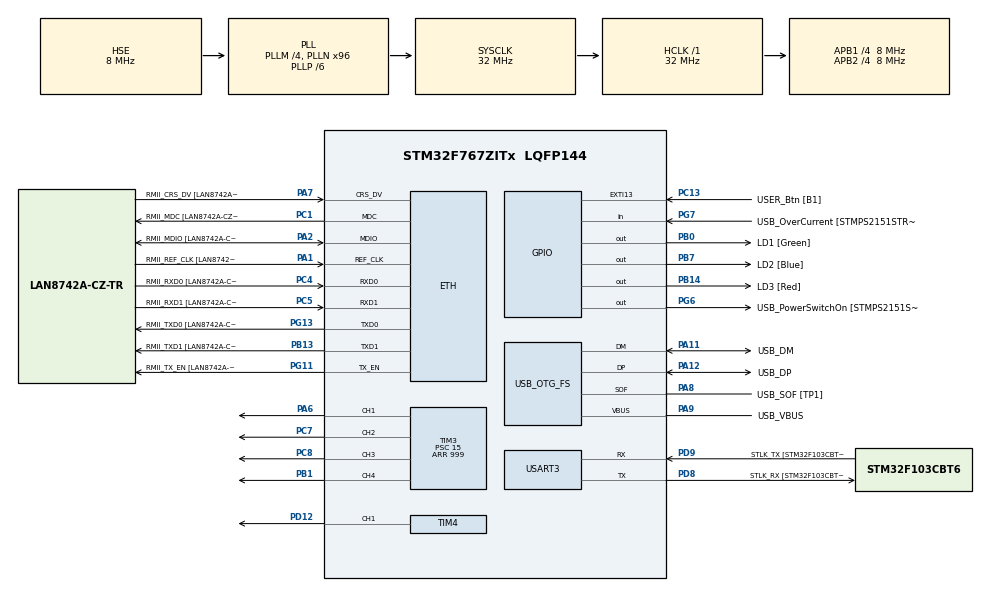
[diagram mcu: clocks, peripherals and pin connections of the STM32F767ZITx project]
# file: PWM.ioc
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ETH.MediaInterface=HAL_ETH_RMII_MODE
ETH.PHY_Name=LAN8742A_PHY_ADDRESS
ETH.PHY_Value=0
ETH.PhyAddress=0
Mcu.Family=STM32F7
Mcu.Name=STM32F767ZITx
Mcu.Package=LQFP144
NVIC.PriorityGroup=NVIC_PRIORITYGROUP_4
PA1.GPIO_Label=RMII_REF_CLK [LAN8742A-CZ-TR_REFCLK0]
PA1.Mode=RMII
PA1.Signal=ETH_REF_CLK
PA10.GPIO_Label=USB_ID
PA10.Signal=USB_OTG_FS_ID
PA11.GPIO_Label=USB_DM
PA11.Mode=Device_Only
PA11.Signal=USB_OTG_FS_DM
PA12.GPIO_Label=USB_DP
PA12.Mode=Device_Only
PA12.Signal=USB_OTG_FS_DP
PA13.GPIO_Label=TMS
PA13.Mode=Serial_Wire
PA13.Signal=SYS_JTMS-SWDIO
PA14.GPIO_Label=TCK
PA14.Mode=Serial_Wire
PA14.Signal=SYS_JTCK-SWCLK
PA2.GPIO_Label=RMII_MDIO [LAN8742A-CZ-TR_MDIO]
PA2.Mode=RMII
PA2.Signal=ETH_MDIO
PA6.Signal=S_TIM3_CH1
PA7.GPIO_Label=RMII_CRS_DV [LAN8742A-CZ-TR_CRS_DV]
PA7.Mode=RMII
PA7.Signal=ETH_CRS_DV
PA8.GPIO_Label=USB_SOF [TP1]
PA8.Mode=Activate_SOF_FS
PA8.Signal=USB_OTG_FS_SOF
PA9.GPIO_Label=USB_VBUS
PA9.Mode=Activate_VBUS
PA9.Signal=USB_OTG_FS_VBUS
PB0.GPIO_Label=LD1 [Green]
PB0.Signal=GPIO_Output
PB1.Signal=S_TIM3_CH4
PB13.GPIO_Label=RMII_TXD1 [LAN8742A-CZ-TR_TXD1]
PB13.Mode=RMII
PB13.Signal=ETH_TXD1
PB14.GPIO_Label=LD3 [Red]
PB14.Signal=GPIO_Output
PB3.GPIO_Label=SWO
PB3.Signal=SYS_JTDO-SWO
PB7.GPIO_Label=LD2 [Blue]
PB7.Signal=GPIO_Output
PC1.GPIO_Label=RMII_MDC [LAN8742A-CZ-TR_MDC]
PC1.Mode=RMII
PC1.Signal=ETH_MDC
PC13.GPIO_Label=USER_Btn [B1]
PC13.Signal=GPXTI13
PC14/OSC32_IN.Mode=LSE-External-Oscillator
PC14/OSC32_IN.Signal=RCC_OSC32_IN
PC15/OSC32_OUT.Mode=LSE-External-Oscillator
PC15/OSC32_OUT.Signal=RCC_OSC32_OUT
PC4.GPIO_Label=RMII_RXD0 [LAN8742A-CZ-TR_RXD0]
PC4.Mode=RMII
PC4.Signal=ETH_RXD0
PC5.GPIO_Label=RMII_RXD1 [LAN8742A-CZ-TR_RXD1]
PC5.Mode=RMII
PC5.Signal=ETH_RXD1
PC7.Signal=S_TIM3_CH2
PC8.Signal=S_TIM3_CH3
PD12.Signal=S_TIM4_CH1
PD8.GPIO_Label=STLK_RX [STM32F103CBT6_PA3]
PD8.Mode=Asynchronous
PD8.Signal=USART3_TX
PD9.GPIO_Label=STLK_TX [STM32F103CBT6_PA2]
PD9.Mode=Asynchronous
PD9.Signal=USART3_RX
PG11.GPIO_Label=RMII_TX_EN [LAN8742A-CZ-TR_TXEN]
PG11.Mode=RMII
PG11.Signal=ETH_TX_EN
PG13.GPIO_Label=RMII_TXD0 [LAN8742A-CZ-TR_TXD0]
PG13.Mode=RMII
PG13.Signal=ETH_TXD0
PG6.GPIO_Label=USB_PowerSwitchOn [STMPS2151STR_EN]
PG6.Signal=GPIO_Output
PG7.GPIO_Label=USB_OverCurrent [STMPS2151STR_FAULT]
PG7.Signal=GPIO_Input
PH0/OSC_IN.GPIO_Label=MCO [STM32F103CBT6_PA8]
PH0/OSC_IN.Mode=HSE-External-Clock-Source
PH0/OSC_IN.Signal=RCC_OSC_IN
PH1/OSC_OUT.Mode=HSE-External-Clock-Source
PH1/OSC_OUT.Signal=RCC_OSC_OUT
ProjectManager.HeapSize=0x200
ProjectManager.StackSize=0x400
ProjectManager.TargetToolchain=STM32CubeIDE
RCC.48MHZClocksFreq_Value=24000000
RCC.AHBFreq_Value=32000000
RCC.APB1CLKDivider=RCC_HCLK_DIV4
RCC.APB1Freq_Value=8000000
RCC.APB1TimFreq_Value=16000000
RCC.APB2CLKDivider=RCC_HCLK_DIV4
RCC.APB2Freq_Value=8000000
RCC.APB2TimFreq_Value=16000000
RCC.CortexFreq_Value=32000000
RCC.HCLKFreq_Value=32000000
RCC.HSE_VALUE=8000000
RCC.HSI_VALUE=16000000
RCC.PLLM=4
RCC.PLLMUL=RCC_PLL_MUL9
RCC.PLLN=96
RCC.PLLP=RCC_PLLP_DIV6
RCC.PLLQ=4
RCC.PRESCALERUSB=RCC_USBCLKSOURCE_PLL_DIV1_5
RCC.SYSCLKFreq_VALUE=32000000
RCC.SYSCLKSource=RCC_SYSCLKSOURCE_PLLCLK
RCC.SYSCLKSourceVirtual=RCC_SYSCLKSOURCE_PLLCLK
RCC.USBFreq_Value=48000000
RCC.VCOOutputFreq_Value=192000000
SH.S_TIM3_CH1.0=TIM3_CH1,PWM Generation1 CH1
SH.S_TIM3_CH2.0=TIM3_CH2,PWM Generation2 CH2
SH.S_TIM3_CH3.0=TIM3_CH3,PWM Generation3 CH3
SH.S_TIM3_CH4.0=TIM3_CH4,PWM Generation4 CH4
SH.S_TIM4_CH1.0=TIM4_CH1,PWM Generation1 CH1
TIM3.Channel-PWM\ Generation1\ CH1=TIM_CHANNEL_1
TIM3.Channel-PWM\ Generation2\ CH2=TIM_CHANNEL_2
TIM3.Channel-PWM\ Generation3\ CH3=TIM_CHANNEL_3
TIM3.Channel-PWM\ Generation4\ CH4=TIM_CHANNEL_4
TIM3.Period=999
TIM3.Prescaler=15
TIM3.Pulse-PWM\ Generation1\ CH1=249
TIM3.Pulse-PWM\ Generation2\ CH2=499
TIM3.Pulse-PWM\ Generation3\ CH3=749
TIM3.Pulse-PWM\ Generation4\ CH4=999
TIM4.Channel-PWM\ Generation1\ CH1=TIM_CHANNEL_1
TIM4.Period=19999
TIM4.Prescaler=15
USART3.VirtualMode-Asynchronous=VM_ASYNC
USB_OTG_FS.VirtualMode=Device_Only
VP_TIM3_VS_ClockSourceINT.Mode=Internal
VP_TIM4_VS_ClockSourceINT.Mode=Internal
board=NUCLEO-F767ZI

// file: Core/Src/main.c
/* USER CODE BEGIN Header */
/**
  ******************************************************************************
  * @file           : main.c
  * @brief          : Main program body
  ******************************************************************************
  * @attention
  *
  * Copyright (c) 2026 STMicroelectronics.
  * All rights reserved.
  *
  * This software is licensed under terms that can be found in the LICENSE file
  * in the root directory of this software component.
  * If no LICENSE file comes with this software, it is provided AS-IS.
  *
  ******************************************************************************
  */
/* USER CODE END Header */
#include "main.h"
#include "string.h"

#if defined ( __ICCARM__ ) /*!< IAR Compiler */
#pragma location=0x2007c000
ETH_DMADescTypeDef  DMARxDscrTab[ETH_RX_DESC_CNT]; /* Ethernet Rx DMA Descriptors */
#pragma location=0x2007c0a0
ETH_DMADescTypeDef  DMATxDscrTab[ETH_TX_DESC_CNT]; /* Ethernet Tx DMA Descriptors */

#elif defined ( __CC_ARM )  /* MDK ARM Compiler */

__attribute__((at(0x2007c000))) ETH_DMADescTypeDef  DMARxDscrTab[ETH_RX_DESC_CNT]; /* Ethernet Rx DMA Descriptors */
__attribute__((at(0x2007c0a0))) ETH_DMADescTypeDef  DMATxDscrTab[ETH_TX_DESC_CNT]; /* Ethernet Tx DMA Descriptors */

#elif defined ( __GNUC__ ) /* GNU Compiler */

ETH_DMADescTypeDef DMARxDscrTab[ETH_RX_DESC_CNT] __attribute__((section(".RxDecripSection"))); /* Ethernet Rx DMA Descriptors */
ETH_DMADescTypeDef DMATxDscrTab[ETH_TX_DESC_CNT] __attribute__((section(".TxDecripSection")));   /* Ethernet Tx DMA Descriptors */
#endif

ETH_TxPacketConfig TxConfig;

ETH_HandleTypeDef heth;

TIM_HandleTypeDef htim3;
TIM_HandleTypeDef htim4;

UART_HandleTypeDef huart3;

PCD_HandleTypeDef hpcd_USB_OTG_FS;

void SystemClock_Config(void);
static void MX_GPIO_Init(void);
static void MX_ETH_Init(void);
static void MX_USART3_UART_Init(void);
static void MX_USB_OTG_FS_PCD_Init(void);
static void MX_TIM3_Init(void);
static void MX_TIM4_Init(void);

/* USER CODE BEGIN 0 */
void set_motor_angle(uint8_t angle)
{

if(angle>180)
{
angle = 180;
}

if(angle<0)
{
angle = 0;
}

uint16_t minPulse = 1000; // 1ms
uint16_t maxPulse = 2000; // 2ms

uint16_t pulse  = minPulse + ((uint32_t)(maxPulse - minPulse)*angle)/180;

__HAL_TIM_SET_COMPARE(&htim4,TIM_CHANNEL_1,pulse);

}
/* USER CODE END 0 */

int main(void)
{

  /* MCU Configuration--------------------------------------------------------*/

  /* Reset of all peripherals, Initializes the Flash interface and the Systick. */
  HAL_Init();

  /* Configure the system clock */
  SystemClock_Config();

  /* Initialize all configured peripherals */
  MX_GPIO_Init();
  MX_ETH_Init();
  MX_USART3_UART_Init();
  MX_USB_OTG_FS_PCD_Init();
  MX_TIM3_Init();
  MX_TIM4_Init();
  /* USER CODE BEGIN 2 */
HAL_TIM_PWM_Start(&htim3, TIM_CHANNEL_1);
HAL_TIM_PWM_Start(&htim3, TIM_CHANNEL_2);
HAL_TIM_PWM_Start(&htim3, TIM_CHANNEL_3);
HAL_TIM_PWM_Start(&htim3, TIM_CHANNEL_4);
HAL_TIM_PWM_Start(&htim4, TIM_CHANNEL_1);
  /* USER CODE END 2 */

  /* Infinite loop */
while (1)
  {

    /* USER CODE BEGIN 3 */
    uint16_t bright = 0;

    // Parlaklığı Artır
    for(bright = 0; bright <= 999; bright++)
    {
        __HAL_TIM_SET_COMPARE(&htim3, TIM_CHANNEL_1, bright);
        __HAL_TIM_SET_COMPARE(&htim3, TIM_CHANNEL_2, bright);
        __HAL_TIM_SET_COMPARE(&htim3, TIM_CHANNEL_3, bright);
        __HAL_TIM_SET_COMPARE(&htim3, TIM_CHANNEL_4, bright);
        HAL_Delay(1); // Geçiş hızı
    }

    // Parlaklığı Azalt
    for(bright = 999; bright > 0; bright--)
    {
        __HAL_TIM_SET_COMPARE(&htim3, TIM_CHANNEL_1, bright);
        __HAL_TIM_SET_COMPARE(&htim3, TIM_CHANNEL_2, bright);
        __HAL_TIM_SET_COMPARE(&htim3, TIM_CHANNEL_3, bright);
        __HAL_TIM_SET_COMPARE(&htim3, TIM_CHANNEL_4, bright);
        HAL_Delay(1);
    }

    for(int i = 0 ; i < 180 ; i++)
    {

    	set_motor_angle(i);
    	HAL_Delay(10);
    }

    for(int i = 180 ; i > 0 ; i--)
    {

    	set_motor_angle(i);
    	HAL_Delay(10);
    }
  }
  /* USER CODE END 3 */
}

void SystemClock_Config(void)
{
  RCC_OscInitTypeDef RCC_OscInitStruct = {0};
  RCC_ClkInitTypeDef RCC_ClkInitStruct = {0};

  /** Configure LSE Drive Capability
  */
  HAL_PWR_EnableBkUpAccess();

  /** Configure the main internal regulator output voltage
  */
  __HAL_RCC_PWR_CLK_ENABLE();
  __HAL_PWR_VOLTAGESCALING_CONFIG(PWR_REGULATOR_VOLTAGE_SCALE3);

  /** Initializes the RCC Oscillators according to the specified parameters
  * in the RCC_OscInitTypeDef structure.
  */
  RCC_OscInitStruct.OscillatorType = RCC_OSCILLATORTYPE_HSE;
  RCC_OscInitStruct.HSEState = RCC_HSE_BYPASS;
  RCC_OscInitStruct.PLL.PLLState = RCC_PLL_ON;
  RCC_OscInitStruct.PLL.PLLSource = RCC_PLLSOURCE_HSE;
  RCC_OscInitStruct.PLL.PLLM = 4;
  RCC_OscInitStruct.PLL.PLLN = 96;
  RCC_OscInitStruct.PLL.PLLP = RCC_PLLP_DIV6;
  RCC_OscInitStruct.PLL.PLLQ = 4;
  RCC_OscInitStruct.PLL.PLLR = 2;
  if (HAL_RCC_OscConfig(&RCC_OscInitStruct) != HAL_OK)
  {
    Error_Handler();
  }

  /** Initializes the CPU, AHB and APB buses clocks
  */
  RCC_ClkInitStruct.ClockType = RCC_CLOCKTYPE_HCLK|RCC_CLOCKTYPE_SYSCLK
                              |RCC_CLOCKTYPE_PCLK1|RCC_CLOCKTYPE_PCLK2;
  RCC_ClkInitStruct.SYSCLKSource = RCC_SYSCLKSOURCE_PLLCLK;
  RCC_ClkInitStruct.AHBCLKDivider = RCC_SYSCLK_DIV1;
  RCC_ClkInitStruct.APB1CLKDivider = RCC_HCLK_DIV4;
  RCC_ClkInitStruct.APB2CLKDivider = RCC_HCLK_DIV4;

  if (HAL_RCC_ClockConfig(&RCC_ClkInitStruct, FLASH_LATENCY_1) != HAL_OK)
  {
    Error_Handler();
  }
}

static void MX_ETH_Init(void)
{

   static uint8_t MACAddr[6];

  heth.Instance = ETH;
  MACAddr[0] = 0x00;
  MACAddr[1] = 0x80;
  MACAddr[2] = 0xE1;
  MACAddr[3] = 0x00;
  MACAddr[4] = 0x00;
  MACAddr[5] = 0x00;
  heth.Init.MACAddr = &MACAddr[0];
  heth.Init.MediaInterface = HAL_ETH_RMII_MODE;
  heth.Init.TxDesc = DMATxDscrTab;
  heth.Init.RxDesc = DMARxDscrTab;
  heth.Init.RxBuffLen = 1524;

  if (HAL_ETH_Init(&heth) != HAL_OK)
  {
    Error_Handler();
  }

  memset(&TxConfig, 0 , sizeof(ETH_TxPacketConfig));
  TxConfig.Attributes = ETH_TX_PACKETS_FEATURES_CSUM | ETH_TX_PACKETS_FEATURES_CRCPAD;
  TxConfig.ChecksumCtrl = ETH_CHECKSUM_IPHDR_PAYLOAD_INSERT_PHDR_CALC;
  TxConfig.CRCPadCtrl = ETH_CRC_PAD_INSERT;

}

static void MX_TIM3_Init(void)
{

  TIM_ClockConfigTypeDef sClockSourceConfig = {0};
  TIM_MasterConfigTypeDef sMasterConfig = {0};
  TIM_OC_InitTypeDef sConfigOC = {0};

  htim3.Instance = TIM3;
  htim3.Init.Prescaler = 15;
  htim3.Init.CounterMode = TIM_COUNTERMODE_UP;
  htim3.Init.Period = 999;
  htim3.Init.ClockDivision = TIM_CLOCKDIVISION_DIV1;
  htim3.Init.AutoReloadPreload = TIM_AUTORELOAD_PRELOAD_DISABLE;
  if (HAL_TIM_Base_Init(&htim3) != HAL_OK)
  {
    Error_Handler();
  }
  sClockSourceConfig.ClockSource = TIM_CLOCKSOURCE_INTERNAL;
  if (HAL_TIM_ConfigClockSource(&htim3, &sClockSourceConfig) != HAL_OK)
  {
    Error_Handler();
  }
  if (HAL_TIM_PWM_Init(&htim3) != HAL_OK)
  {
    Error_Handler();
  }
  sMasterConfig.MasterOutputTrigger = TIM_TRGO_RESET;
  sMasterConfig.MasterSlaveMode = TIM_MASTERSLAVEMODE_DISABLE;
  if (HAL_TIMEx_MasterConfigSynchronization(&htim3, &sMasterConfig) != HAL_OK)
  {
    Error_Handler();
  }
  sConfigOC.OCMode = TIM_OCMODE_PWM1;
  sConfigOC.Pulse = 249;
  sConfigOC.OCPolarity = TIM_OCPOLARITY_HIGH;
  sConfigOC.OCFastMode = TIM_OCFAST_DISABLE;
  if (HAL_TIM_PWM_ConfigChannel(&htim3, &sConfigOC, TIM_CHANNEL_1) != HAL_OK)
  {
    Error_Handler();
  }
  sConfigOC.Pulse = 499;
  if (HAL_TIM_PWM_ConfigChannel(&htim3, &sConfigOC, TIM_CHANNEL_2) != HAL_OK)
  {
    Error_Handler();
  }
  sConfigOC.Pulse = 749;
  if (HAL_TIM_PWM_ConfigChannel(&htim3, &sConfigOC, TIM_CHANNEL_3) != HAL_OK)
  {
    Error_Handler();
  }
  sConfigOC.Pulse = 999;
  if (HAL_TIM_PWM_ConfigChannel(&htim3, &sConfigOC, TIM_CHANNEL_4) != HAL_OK)
  {
    Error_Handler();
  }
  HAL_TIM_MspPostInit(&htim3);

}

static void MX_TIM4_Init(void)
{

  TIM_ClockConfigTypeDef sClockSourceConfig = {0};
  TIM_MasterConfigTypeDef sMasterConfig = {0};
  TIM_OC_InitTypeDef sConfigOC = {0};

  htim4.Instance = TIM4;
  htim4.Init.Prescaler = 15;
  htim4.Init.CounterMode = TIM_COUNTERMODE_UP;
  htim4.Init.Period = 19999;
  htim4.Init.ClockDivision = TIM_CLOCKDIVISION_DIV1;
  htim4.Init.AutoReloadPreload = TIM_AUTORELOAD_PRELOAD_DISABLE;
  if (HAL_TIM_Base_Init(&htim4) != HAL_OK)
  {
    Error_Handler();
  }
  sClockSourceConfig.ClockSource = TIM_CLOCKSOURCE_INTERNAL;
  if (HAL_TIM_ConfigClockSource(&htim4, &sClockSourceConfig) != HAL_OK)
  {
    Error_Handler();
  }
  if (HAL_TIM_PWM_Init(&htim4) != HAL_OK)
  {
    Error_Handler();
  }
  sMasterConfig.MasterOutputTrigger = TIM_TRGO_RESET;
  sMasterConfig.MasterSlaveMode = TIM_MASTERSLAVEMODE_DISABLE;
  if (HAL_TIMEx_MasterConfigSynchronization(&htim4, &sMasterConfig) != HAL_OK)
  {
    Error_Handler();
  }
  sConfigOC.OCMode = TIM_OCMODE_PWM1;
  sConfigOC.Pulse = 0;
  sConfigOC.OCPolarity = TIM_OCPOLARITY_HIGH;
  sConfigOC.OCFastMode = TIM_OCFAST_DISABLE;
  if (HAL_TIM_PWM_ConfigChannel(&htim4, &sConfigOC, TIM_CHANNEL_1) != HAL_OK)
  {
    Error_Handler();
  }
  HAL_TIM_MspPostInit(&htim4);

}

static void MX_USART3_UART_Init(void)
{

  huart3.Instance = USART3;
  huart3.Init.BaudRate = 115200;
  huart3.Init.WordLength = UART_WORDLENGTH_8B;
  huart3.Init.StopBits = UART_STOPBITS_1;
  huart3.Init.Parity = UART_PARITY_NONE;
  huart3.Init.Mode = UART_MODE_TX_RX;
  huart3.Init.HwFlowCtl = UART_HWCONTROL_NONE;
  huart3.Init.OverSampling = UART_OVERSAMPLING_16;
  huart3.Init.OneBitSampling = UART_ONE_BIT_SAMPLE_DISABLE;
  huart3.AdvancedInit.AdvFeatureInit = UART_ADVFEATURE_NO_INIT;
  if (HAL_UART_Init(&huart3) != HAL_OK)
  {
    Error_Handler();
  }

}

static void MX_USB_OTG_FS_PCD_Init(void)
{

  hpcd_USB_OTG_FS.Instance = USB_OTG_FS;
  hpcd_USB_OTG_FS.Init.dev_endpoints = 6;
  hpcd_USB_OTG_FS.Init.speed = PCD_SPEED_FULL;
  hpcd_USB_OTG_FS.Init.dma_enable = DISABLE;
  hpcd_USB_OTG_FS.Init.phy_itface = PCD_PHY_EMBEDDED;
  hpcd_USB_OTG_FS.Init.Sof_enable = ENABLE;
  hpcd_USB_OTG_FS.Init.low_power_enable = DISABLE;
  hpcd_USB_OTG_FS.Init.lpm_enable = DISABLE;
  hpcd_USB_OTG_FS.Init.vbus_sensing_enable = ENABLE;
  hpcd_USB_OTG_FS.Init.use_dedicated_ep1 = DISABLE;
  if (HAL_PCD_Init(&hpcd_USB_OTG_FS) != HAL_OK)
  {
    Error_Handler();
  }

}

static void MX_GPIO_Init(void)
{
  GPIO_InitTypeDef GPIO_InitStruct = {0};

  /* GPIO Ports Clock Enable */
  __HAL_RCC_GPIOC_CLK_ENABLE();
  __HAL_RCC_GPIOH_CLK_ENABLE();
  __HAL_RCC_GPIOA_CLK_ENABLE();
  __HAL_RCC_GPIOB_CLK_ENABLE();
  __HAL_RCC_GPIOD_CLK_ENABLE();
  __HAL_RCC_GPIOG_CLK_ENABLE();

  /*Configure GPIO pin Output Level */
  HAL_GPIO_WritePin(GPIOB, LD1_Pin|LD3_Pin|LD2_Pin, GPIO_PIN_RESET);

  /*Configure GPIO pin Output Level */
  HAL_GPIO_WritePin(USB_PowerSwitchOn_GPIO_Port, USB_PowerSwitchOn_Pin, GPIO_PIN_RESET);

  /*Configure GPIO pin : USER_Btn_Pin */
  GPIO_InitStruct.Pin = USER_Btn_Pin;
  GPIO_InitStruct.Mode = GPIO_MODE_IT_RISING;
  GPIO_InitStruct.Pull = GPIO_NOPULL;
  HAL_GPIO_Init(USER_Btn_GPIO_Port, &GPIO_InitStruct);

  /*Configure GPIO pins : LD1_Pin LD3_Pin LD2_Pin */
  GPIO_InitStruct.Pin = LD1_Pin|LD3_Pin|LD2_Pin;
  GPIO_InitStruct.Mode = GPIO_MODE_OUTPUT_PP;
  GPIO_InitStruct.Pull = GPIO_NOPULL;
  GPIO_InitStruct.Speed = GPIO_SPEED_FREQ_LOW;
  HAL_GPIO_Init(GPIOB, &GPIO_InitStruct);

  /*Configure GPIO pin : USB_PowerSwitchOn_Pin */
  GPIO_InitStruct.Pin = USB_PowerSwitchOn_Pin;
  GPIO_InitStruct.Mode = GPIO_MODE_OUTPUT_PP;
  GPIO_InitStruct.Pull = GPIO_NOPULL;
  GPIO_InitStruct.Speed = GPIO_SPEED_FREQ_LOW;
  HAL_GPIO_Init(USB_PowerSwitchOn_GPIO_Port, &GPIO_InitStruct);

  /*Configure GPIO pin : USB_OverCurrent_Pin */
  GPIO_InitStruct.Pin = USB_OverCurrent_Pin;
  GPIO_InitStruct.Mode = GPIO_MODE_INPUT;
  GPIO_InitStruct.Pull = GPIO_NOPULL;
  HAL_GPIO_Init(USB_OverCurrent_GPIO_Port, &GPIO_InitStruct);

}

void Error_Handler(void)
{
  __disable_irq();
  while (1)
  {
  }
}
